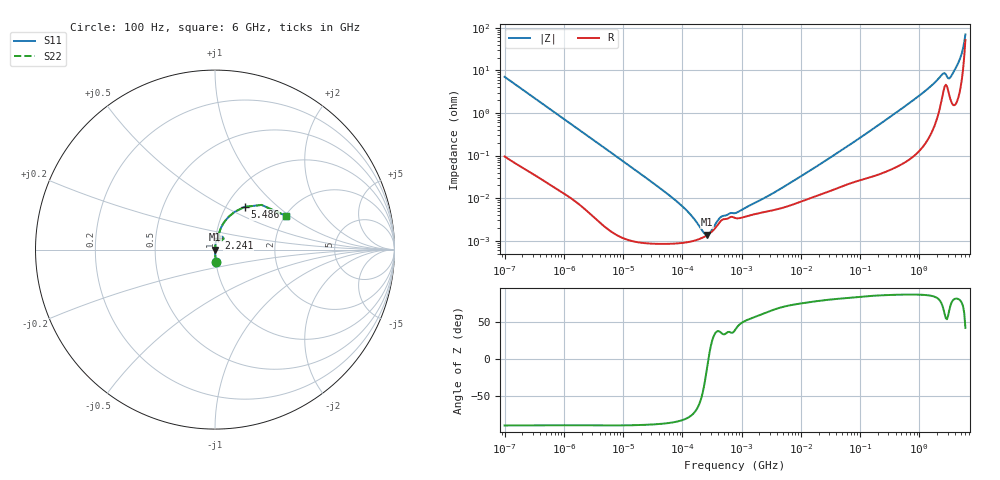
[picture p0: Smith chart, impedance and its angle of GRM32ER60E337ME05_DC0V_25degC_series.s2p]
!Murata Part Number: GRM32ER60E337ME05
!These Parameters are Measured in Series Mode Connection
!  o--ll--o
!Port1  Port2
!  o------o
!Operation Temp=25[degC], DC Bias Voltage=0[V]
!Freq. Start=100[Hz] Stop=6[GHz], 401[Steps]
!Data Generated on Dec 1, 2020
# Hz S RI R 50
!Freq.(Hz) S11(Real) S11(Imag) S21(Real) S21(Imag) S12(Real) S12(Imag) S22(Real) S22(Imag)
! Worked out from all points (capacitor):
!   401 points, 100 Hz to 6 GHz, reference 50 ohm
!   read as one part in series: C = 225 uF near 109.4 Hz
!   lowest |Z| = 1.38 mohm at 264.5 kHz (marker M1)
!   series resonance near 275.2 kHz, so ESL is about 1.5 nH
!   S11 on the Smith chart (normalised r, x): 100 Hz: 1.00, -0.14; 2.241 GHz: 1.03, +0.14; 5.486 GHz: 1.21, +0.63; 6 GHz: 2.03, +0.94
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100  0.00589 -0.0701  0.9941 0.0701  0.9941 0.0701  0.00589 -0.0701
320.3169  0.000845 -0.0222  0.9992 0.0222  0.9992 0.0222  0.000845 -0.0222
2008.354  7.67e-05 -0.00363  0.9999 0.00363  0.9999 0.00363  7.67e-05 -0.00363
40334.87  8.47e-06 -0.000179  1 0.000179  1 0.000179  8.47e-06 -0.000179
63115.27  8.5e-06 -0.00011  1 0.00011  1 0.00011  8.5e-06 -0.00011
72188.93  8.57e-06 -9.49e-05  1 9.49e-05  1 9.49e-05  8.57e-06 -9.49e-05
264476.2  1.36e-05 -2.1e-06  1 2.1e-06  1 2.1e-06  1.36e-05 -2.1e-06
774596.7  3.43e-05 2.82e-05  1 -2.82e-05  1 -2.82e-05  3.43e-05 2.82e-05
2481164  4.74e-05 9.1e-05  1 -9.1e-05  1 -9.1e-05  4.74e-05 9.1e-05
1.555665e7  0.000103 0.000467  0.9999 -0.000467  0.9999 -0.000467  0.000103 0.000467
8.154455e7  0.000246 0.00214  0.9998 -0.00214  0.9998 -0.00214  0.000246 0.00214
3.124326e8  0.000512 0.00784  0.9995 -0.00784  0.9995 -0.00784  0.000512 0.00784
1.144649e9  0.00246 0.0294  0.9975 -0.0294  0.9975 -0.0294  0.00246 0.0294
2.240541e9  0.0179 0.0668  0.9821 -0.0668  0.9821 -0.0668  0.0179 0.0668
2.562649e9  0.0372 0.0732  0.9628 -0.0732  0.9628 -0.0732  0.0372 0.0732
3.065283e9  0.0356 0.0519  0.9644 -0.0519  0.9644 -0.0519  0.0356 0.0519
3.352442e9  0.0245 0.0626  0.9755 -0.0626  0.9755 -0.0626  0.0245 0.0626
3.8344e9  0.0231 0.0895  0.9769 -0.0895  0.9769 -0.0895  0.0231 0.0895
4.586474e9  0.0442 0.142  0.9558 -0.142  0.9558 -0.142  0.0442 0.142
5.016141e9  0.0772 0.1838  0.9228 -0.1838  0.9228 -0.1838  0.0772 0.1838
5.486059e9  0.1646 0.2377  0.8354 -0.2377  0.8354 -0.2377  0.1646 0.2377
6e9  0.3973 0.1869  0.6027 -0.1869  0.6027 -0.1869  0.3973 0.1869
